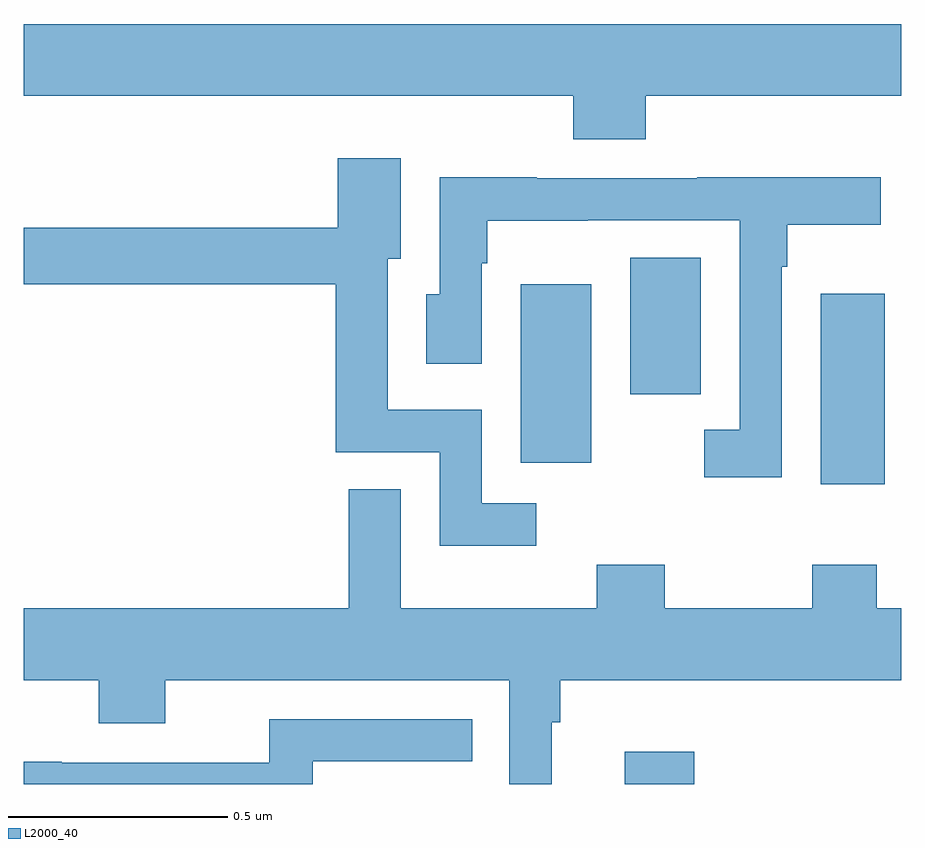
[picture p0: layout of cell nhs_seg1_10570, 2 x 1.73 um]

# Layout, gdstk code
import gdstk
lib = gdstk.Library(unit=1e-6, precision=1e-09)
def R(c, l, rs):  # rectangles x0, y0, x1, y1
    for r in rs: c.add(gdstk.rectangle(r[:2], r[2:], *l))
def P(c, l, *ps):  # polygons
    for p in ps: c.add(gdstk.Polygon(p, *l))
L2000_40 = (2000, 40)

nhs_seg1_10570 = lib.new_cell('nhs_seg1_10570')
R(nhs_seg1_10570, L2000_40, [(244.37,514.199,244.529,514.273), (244.817,514.883,244.963,515.317), (244.133,514.932,244.294,515.338), (244.382,515.088,244.543,515.399)])
P(nhs_seg1_10570, L2000_40, [(244.418,515.768),(245,515.768),(245,515.932),(243,515.932),(243,515.768),(244.253,515.768),(244.253,515.669),(244.418,515.669)],
  [(244.168,514.839),(244.044,514.839),(244.044,515.052),(243.829,515.052),(243.829,515.397),(243.859,515.397),(243.859,515.626),(243.716,515.626),(243.716,515.467),(243,515.467),(243,515.338),(243.711,515.338),(243.711,514.956),(243.948,514.956),(243.948,514.742),(244.168,514.742)],
  [(244.728,515.378),(244.741,515.378),(244.741,515.474),(244.954,515.474),(244.954,515.582),(244.535,515.582),(244.535,515.58),(244.169,515.58),(244.169,515.582),(243.948,515.582),(243.948,515.316),(243.917,515.316),(243.917,515.157),(244.044,515.157),(244.044,515.387),(244.057,515.387),(244.057,515.483),(244.286,515.483),(244.286,515.484),(244.632,515.484),(244.632,515.007),(244.551,515.007),(244.551,514.899),(244.728,514.899)],
  [(244.204,514.34),(244.223,514.34),(244.223,514.436),(245,514.436),(245,514.6),(244.945,514.6),(244.945,514.699),(244.798,514.699),(244.798,514.6),(244.461,514.6),(244.461,514.699),(244.306,514.699),(244.306,514.6),(243.859,514.6),(243.859,514.871),(243.741,514.871),(243.741,514.6),(243,514.6),(243,514.436),(243.17,514.436),(243.17,514.337),(243.322,514.337),(243.322,514.436),(244.107,514.436),(244.107,514.199),(244.204,514.199)],
  [(243.658,514.251),(244.022,514.251),(244.022,514.347),(243.559,514.347),(243.559,514.248),(243.086,514.248),(243.086,514.25),(243,514.25),(243,514.199),(243.658,514.199)])

lib.write_gds('nhs_seg1_10570.gds')
